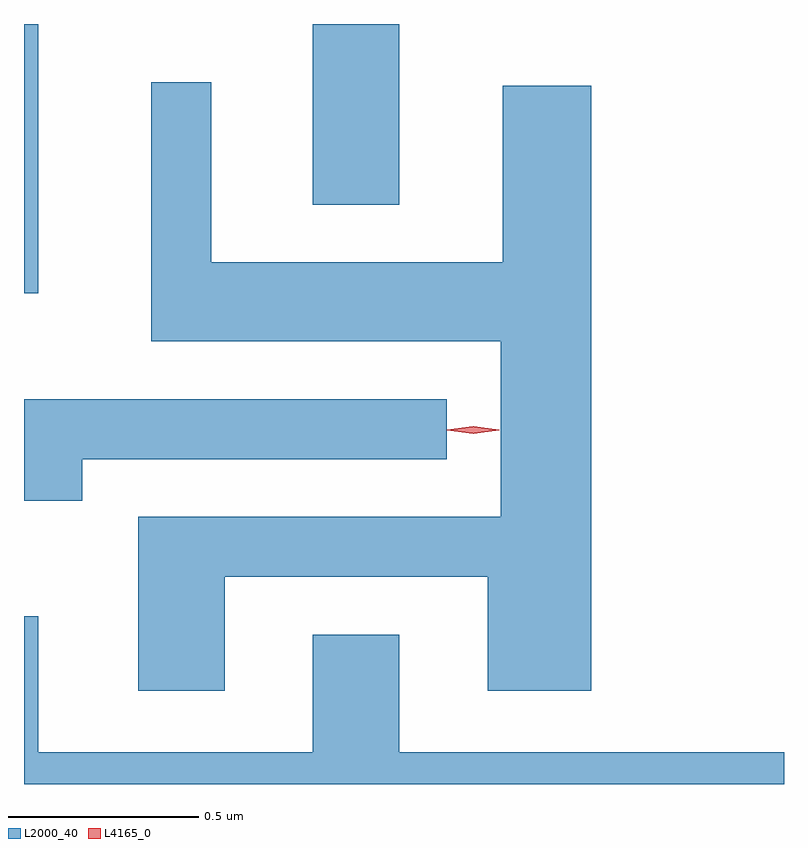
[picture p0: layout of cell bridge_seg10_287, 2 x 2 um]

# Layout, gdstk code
import gdstk
lib = gdstk.Library(unit=1e-6, precision=1e-09)
def R(c, l, rs):  # rectangles x0, y0, x1, y1
    for r in rs: c.add(gdstk.rectangle(r[:2], r[2:], *l))
def P(c, l, *ps):  # polygons
    for p in ps: c.add(gdstk.Polygon(p, *l))
L2000_40 = (2000, 40)
L4165_0 = (4165, 0)

bridge_seg10_287 = lib.new_cell('bridge_seg10_287')
R(bridge_seg10_287, L2000_40, [(1806.481,2090.972,1806.519,2091.681), (1807.241,2091.206,1807.469,2091.681)])
P(bridge_seg10_287, L2000_40, [(1807.009,2090.226),(1807.701,2090.226),(1807.701,2089.926),(1807.974,2089.926),(1807.974,2091.519),(1807.741,2091.519),(1807.741,2091.054),(1806.974,2091.054),(1806.974,2091.528),(1806.816,2091.528),(1806.816,2090.846),(1807.736,2090.846),(1807.736,2090.384),(1806.781,2090.384),(1806.781,2089.926),(1807.009,2089.926)],
  [(1806.634,2090.536),(1807.593,2090.536),(1807.593,2090.694),(1806.481,2090.694),(1806.481,2090.426),(1806.634,2090.426)],
  [(1808.481,2089.764),(1807.469,2089.764),(1807.469,2090.074),(1807.241,2090.074),(1807.241,2089.764),(1806.519,2089.764),(1806.519,2090.123),(1806.481,2090.123),(1806.481,2089.681),(1808.481,2089.681)])
P(bridge_seg10_287, L4165_0, [(1807.663,2090.603),(1807.594,2090.612),(1807.593,2090.613),(1807.594,2090.613),(1807.663,2090.623),(1807.732,2090.613),(1807.732,2090.613),(1807.732,2090.612)],
  [(1807.664,2090.603),(1807.597,2090.612),(1807.597,2090.613),(1807.597,2090.613),(1807.664,2090.623),(1807.729,2090.613),(1807.73,2090.613),(1807.729,2090.612)])

lib.write_gds('bridge_seg10_287.gds')
